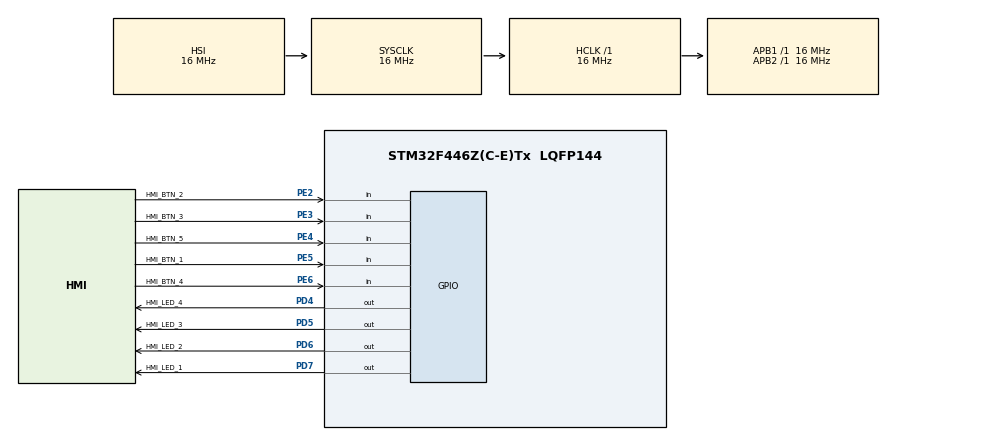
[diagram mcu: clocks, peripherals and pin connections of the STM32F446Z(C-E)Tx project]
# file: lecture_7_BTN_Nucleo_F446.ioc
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Mcu.Family=STM32F4
Mcu.Name=STM32F446Z(C-E)Tx
Mcu.Package=LQFP144
NVIC.PriorityGroup=NVIC_PRIORITYGROUP_4
PA13.Mode=Serial_Wire
PA13.Signal=SYS_JTMS-SWDIO
PA14.Mode=Serial_Wire
PA14.Signal=SYS_JTCK-SWCLK
PD4.GPIO_Label=HMI_LED_4
PD4.GPIO_ModeDefaultOutputPP=GPIO_MODE_OUTPUT_PP
PD4.GPIO_PuPd=GPIO_NOPULL
PD4.GPIO_Speed=GPIO_SPEED_FREQ_LOW
PD4.PinState=GPIO_PIN_RESET
PD4.Signal=GPIO_Output
PD5.GPIO_Label=HMI_LED_3
PD5.GPIO_ModeDefaultOutputPP=GPIO_MODE_OUTPUT_PP
PD5.GPIO_PuPd=GPIO_NOPULL
PD5.GPIO_Speed=GPIO_SPEED_FREQ_LOW
PD5.PinState=GPIO_PIN_RESET
PD5.Signal=GPIO_Output
PD6.GPIO_Label=HMI_LED_2
PD6.GPIO_ModeDefaultOutputPP=GPIO_MODE_OUTPUT_PP
PD6.GPIO_PuPd=GPIO_NOPULL
PD6.GPIO_Speed=GPIO_SPEED_FREQ_LOW
PD6.PinState=GPIO_PIN_RESET
PD6.Signal=GPIO_Output
PD7.GPIO_Label=HMI_LED_1
PD7.GPIO_ModeDefaultOutputPP=GPIO_MODE_OUTPUT_PP
PD7.GPIO_PuPd=GPIO_NOPULL
PD7.GPIO_Speed=GPIO_SPEED_FREQ_LOW
PD7.PinState=GPIO_PIN_RESET
PD7.Signal=GPIO_Output
PE2.GPIO_Label=HMI_BTN_2
PE2.GPIO_Mode=GPIO_MODE_INPUT
PE2.GPIO_PuPd=GPIO_PULLDOWN
PE2.Signal=GPIO_Input
PE3.GPIO_Label=HMI_BTN_3
PE3.GPIO_Mode=GPIO_MODE_INPUT
PE3.GPIO_PuPd=GPIO_PULLDOWN
PE3.Signal=GPIO_Input
PE4.GPIO_Label=HMI_BTN_5
PE4.GPIO_Mode=GPIO_MODE_INPUT
PE4.GPIO_PuPd=GPIO_PULLDOWN
PE4.Signal=GPIO_Input
PE5.GPIO_Label=HMI_BTN_1
PE5.GPIO_Mode=GPIO_MODE_INPUT
PE5.GPIO_PuPd=GPIO_PULLDOWN
PE5.Signal=GPIO_Input
PE6.GPIO_Label=HMI_BTN_4
PE6.GPIO_Mode=GPIO_MODE_INPUT
PE6.GPIO_PuPd=GPIO_PULLDOWN
PE6.Signal=GPIO_Input
PH0-OSC_IN.Mode=HSE-External-Clock-Source
PH0-OSC_IN.Signal=RCC_OSC_IN
PH1-OSC_OUT.Mode=HSE-External-Clock-Source
PH1-OSC_OUT.Signal=RCC_OSC_OUT
ProjectManager.HeapSize=0x200
ProjectManager.StackSize=0x400
ProjectManager.TargetToolchain=STM32CubeIDE
RCC.48MHZClocksFreq_Value=24000000
RCC.AHBFreq_Value=16000000
RCC.APB1Freq_Value=16000000
RCC.APB1TimFreq_Value=16000000
RCC.APB2Freq_Value=16000000
RCC.APB2TimFreq_Value=16000000
RCC.CortexFreq_Value=16000000
RCC.HCLKFreq_Value=16000000
RCC.HSE_VALUE=8000000
RCC.HSI_VALUE=16000000
RCC.PLLM=4
RCC.PLLMUL=RCC_PLL_MUL9
RCC.PLLN=168
RCC.PLLQ=7
RCC.PRESCALERUSB=RCC_USBCLKSOURCE_PLL_DIV1_5
RCC.SYSCLKFreq_VALUE=16000000
RCC.SYSCLKSourceVirtual=RCC_SYSCLKSOURCE_PLLCLK
RCC.USBFreq_Value=96000000
RCC.VCOOutputFreq_Value=672000000
board=NUCLEO-F446ZE

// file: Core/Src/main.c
/* USER CODE BEGIN Header */
/**
  ******************************************************************************
  * @file           : main.c
  * @brief          : Main program body
  ******************************************************************************
  * @attention
  *
  * Copyright (c) 2024 STMicroelectronics.
  * All rights reserved.
  *
  * This software is licensed under terms that can be found in the LICENSE file
  * in the root directory of this software component.
  * If no LICENSE file comes with this software, it is provided AS-IS.
  *
  ******************************************************************************
  */
/* USER CODE END Header */
#include "main.h"
#include "gpio.h"

void SystemClock_Config(void);

int main(void)
{

  /* MCU Configuration--------------------------------------------------------*/

  /* Reset of all peripherals, Initializes the Flash interface and the Systick. */
  HAL_Init();

  /* Configure the system clock */
  SystemClock_Config();

  /* Initialize all configured peripherals */
  MX_GPIO_Init();
  /* USER CODE BEGIN 2 */

#define DEBOUNCING_TRESHOLD 2500

  uint32_t count_debounce = 0;		// number of identical states
  uint8_t previous_state_debounce;	// button previous state
  uint8_t current_state_debounce = HAL_GPIO_ReadPin(HMI_BTN_1_GPIO_Port, HMI_BTN_1_Pin);	//button actual state

  uint8_t previous_state_edge = HAL_GPIO_ReadPin(HMI_BTN_1_GPIO_Port, HMI_BTN_1_Pin);		//variable for edge detection
  uint32_t counter = 0;				// cycle counter

  /* USER CODE END 2 */

  /* Infinite loop */
  /* USER CODE BEGIN WHILE */
  while (1)
  {

	  count_debounce = 0;				// variable reset
	  //check the state of the button until it is sufficiently stable
	  while (count_debounce < DEBOUNCING_TRESHOLD)
	  {
		  previous_state_debounce = current_state_debounce;
		  current_state_debounce = HAL_GPIO_ReadPin(HMI_BTN_1_GPIO_Port, HMI_BTN_1_Pin);
		  //if the previous state is equal by the actual state increment the debounce variable
		  if (previous_state_debounce == current_state_debounce)
		  {
			  count_debounce++;
		  }

	  }
	  //edge detection, counter incrementation if it is happened
	  if (current_state_debounce && !previous_state_edge)
	  {
		  //In order to show the actual value of the counter on the LEDs
		  //	the counter should be incremented before setting the LED ports
		  counter++;

		  //set the LED control pins based on the counter value
		  HAL_GPIO_WritePin(HMI_LED_1_GPIO_Port, HMI_LED_1_Pin, counter & 0x08 ? GPIO_PIN_SET : GPIO_PIN_RESET);
		  HAL_GPIO_WritePin(HMI_LED_2_GPIO_Port, HMI_LED_2_Pin, counter & 0x04 ? GPIO_PIN_SET : GPIO_PIN_RESET);
		  HAL_GPIO_WritePin(HMI_LED_3_GPIO_Port, HMI_LED_3_Pin, counter & 0x02 ? GPIO_PIN_SET : GPIO_PIN_RESET);
		  HAL_GPIO_WritePin(HMI_LED_4_GPIO_Port, HMI_LED_4_Pin, counter & 0x01 ? GPIO_PIN_SET : GPIO_PIN_RESET);
	  }

	  previous_state_edge = current_state_debounce;	//save the actual state

    /* USER CODE END WHILE */

  }
}

void SystemClock_Config(void)
{
  RCC_OscInitTypeDef RCC_OscInitStruct = {0};
  RCC_ClkInitTypeDef RCC_ClkInitStruct = {0};

  /** Configure the main internal regulator output voltage
  */
  __HAL_RCC_PWR_CLK_ENABLE();
  __HAL_PWR_VOLTAGESCALING_CONFIG(PWR_REGULATOR_VOLTAGE_SCALE3);

  /** Initializes the RCC Oscillators according to the specified parameters
  * in the RCC_OscInitTypeDef structure.
  */
  RCC_OscInitStruct.OscillatorType = RCC_OSCILLATORTYPE_HSI;
  RCC_OscInitStruct.HSIState = RCC_HSI_ON;
  RCC_OscInitStruct.HSICalibrationValue = RCC_HSICALIBRATION_DEFAULT;
  RCC_OscInitStruct.PLL.PLLState = RCC_PLL_NONE;
  if (HAL_RCC_OscConfig(&RCC_OscInitStruct) != HAL_OK)
  {
    Error_Handler();
  }

  /** Initializes the CPU, AHB and APB buses clocks
  */
  RCC_ClkInitStruct.ClockType = RCC_CLOCKTYPE_HCLK|RCC_CLOCKTYPE_SYSCLK
                              |RCC_CLOCKTYPE_PCLK1|RCC_CLOCKTYPE_PCLK2;
  RCC_ClkInitStruct.SYSCLKSource = RCC_SYSCLKSOURCE_HSI;
  RCC_ClkInitStruct.AHBCLKDivider = RCC_SYSCLK_DIV1;
  RCC_ClkInitStruct.APB1CLKDivider = RCC_HCLK_DIV1;
  RCC_ClkInitStruct.APB2CLKDivider = RCC_HCLK_DIV1;

  if (HAL_RCC_ClockConfig(&RCC_ClkInitStruct, FLASH_LATENCY_0) != HAL_OK)
  {
    Error_Handler();
  }
}

void Error_Handler(void)
{
  __disable_irq();
  while (1)
  {
  }
}
